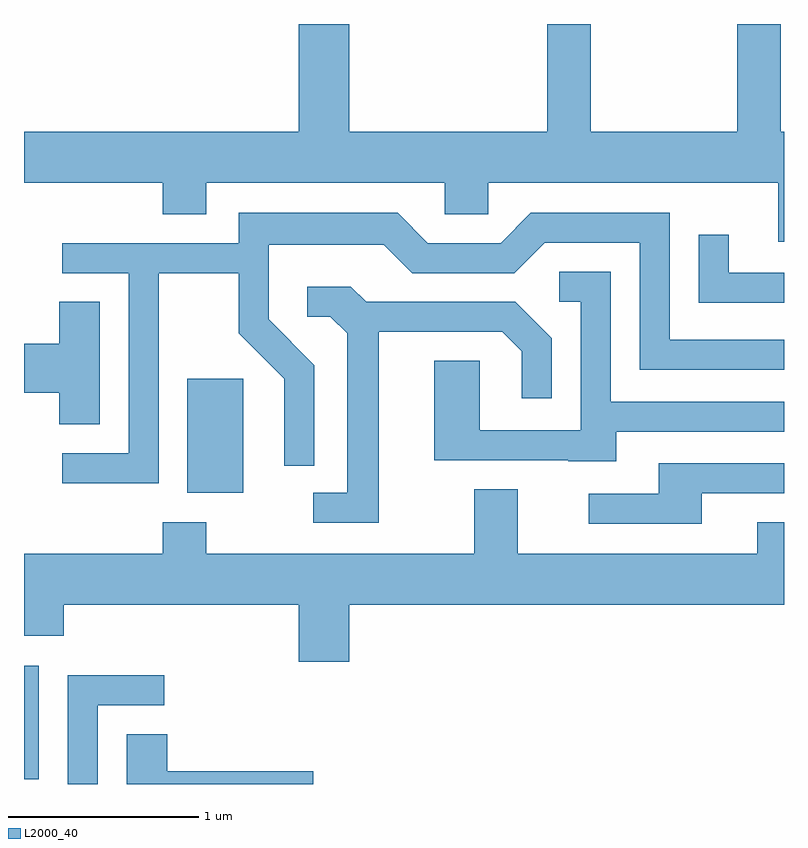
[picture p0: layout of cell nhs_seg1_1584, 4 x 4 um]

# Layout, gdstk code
import gdstk
lib = gdstk.Library(unit=1e-6, precision=1e-09)
def R(c, l, rs):  # rectangles x0, y0, x1, y1
    for r in rs: c.add(gdstk.rectangle(r[:2], r[2:], *l))
def P(c, l, *ps):  # polygons
    for p in ps: c.add(gdstk.Polygon(p, *l))
L2000_40 = (2000, 40)

nhs_seg1_1584 = lib.new_cell('nhs_seg1_1584')
R(nhs_seg1_1584, L2000_40, [(233.611,929.736,233.689,930.334), (234.471,931.246,234.764,931.844)])
P(nhs_seg1_1584, L2000_40, [(237.611,933.144),(237.594,933.144),(237.594,933.712),(237.366,933.712),(237.366,933.144),(236.594,933.144),(236.594,933.712),(236.366,933.712),(236.366,933.144),(235.324,933.144),(235.324,933.712),(235.056,933.712),(235.056,933.144),(233.611,933.144),(233.611,932.876),(234.341,932.876),(234.341,932.711),(234.569,932.711),(234.569,932.876),(235.826,932.876),(235.826,932.711),(236.054,932.711),(236.054,932.876),(237.581,932.876),(237.581,932.566),(237.611,932.566)],
  [(234.319,932.401),(234.741,932.401),(234.741,932.084),(234.981,931.844),(234.981,931.388),(235.139,931.388),(235.139,931.917),(234.899,932.157),(234.899,932.551),(235.504,932.551),(235.654,932.401),(236.192,932.401),(236.352,932.561),(236.851,932.561),(236.851,931.891),(237.611,931.891),(237.611,932.049),(237.009,932.049),(237.009,932.719),(236.279,932.719),(236.119,932.559),(235.737,932.559),(235.577,932.719),(234.741,932.719),(234.741,932.559),(233.813,932.559),(233.813,932.401),(234.161,932.401),(234.161,931.454),(233.813,931.454),(233.813,931.296),(234.319,931.296)],
  [(237.611,932.404),(237.319,932.404),(237.319,932.603),(237.161,932.603),(237.161,932.246),(237.611,932.246)],
  [(236.729,931.566),(237.611,931.566),(237.611,931.724),(236.699,931.724),(236.699,932.409),(236.428,932.409),(236.428,932.251),(236.541,932.251),(236.541,931.574),(236.009,931.574),(236.009,931.939),(235.771,931.939),(235.771,931.416),(236.475,931.416),(236.475,931.411),(236.729,931.411)],
  [(235.479,932.091),(236.129,932.091),(236.231,931.989),(236.231,931.743),(236.389,931.743),(236.389,932.057),(236.197,932.249),(235.412,932.249),(235.332,932.329),(235.103,932.329),(235.103,932.171),(235.224,932.171),(235.311,932.084),(235.311,931.244),(235.133,931.244),(235.133,931.086),(235.479,931.086)],
  [(234.009,932.249),(233.796,932.249),(233.796,932.029),(233.611,932.029),(233.611,931.771),(233.796,931.771),(233.796,931.606),(234.009,931.606)],
  [(237.179,931.241),(237.611,931.241),(237.611,931.399),(236.951,931.399),(236.951,931.239),(236.583,931.239),(236.583,931.081),(237.179,931.081)],
  [(235.324,930.656),(237.611,930.656),(237.611,931.089),(237.471,931.089),(237.471,930.924),(236.209,930.924),(236.209,931.264),(235.981,931.264),(235.981,930.924),(234.569,930.924),(234.569,931.089),(234.341,931.089),(234.341,930.924),(233.611,930.924),(233.611,930.491),(233.819,930.491),(233.819,930.656),(235.056,930.656),(235.056,930.356),(235.324,930.356)],
  [(233.999,930.126),(234.348,930.126),(234.348,930.284),(233.841,930.284),(233.841,929.712),(233.999,929.712)],
  [(235.134,929.779),(234.364,929.779),(234.364,929.974),(234.151,929.974),(234.151,929.712),(235.134,929.712)])

lib.write_gds('nhs_seg1_1584.gds')
